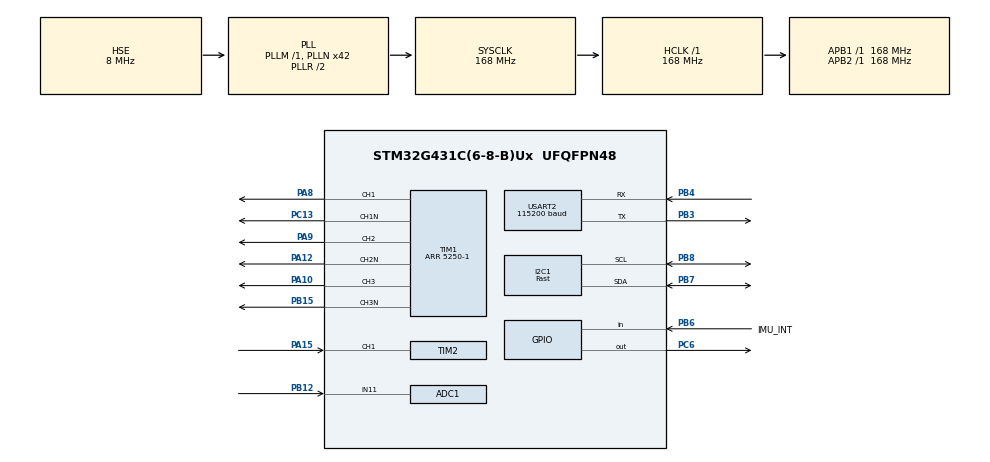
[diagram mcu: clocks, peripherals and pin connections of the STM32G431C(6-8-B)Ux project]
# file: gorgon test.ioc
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ADC1.Channel-0\#ChannelRegularConversion=ADC_CHANNEL_11
ADC1.ContinuousConvMode=ENABLE
ADC1.DMAContinuousRequests=ENABLE
ADC1.NbrOfConversionFlag=1
ADC1.OffsetNumber-0\#ChannelRegularConversion=ADC_OFFSET_NONE
ADC1.Overrun=ADC_OVR_DATA_OVERWRITTEN
ADC1.Rank-0\#ChannelRegularConversion=1
ADC1.SamplingTime-0\#ChannelRegularConversion=ADC_SAMPLETIME_2CYCLES_5
ADC1.master=1
Dma.ADC1.2.Direction=DMA_PERIPH_TO_MEMORY
Dma.ADC1.2.EventEnable=DISABLE
Dma.ADC1.2.Instance=DMA1_Channel3
Dma.ADC1.2.MemDataAlignment=DMA_MDATAALIGN_HALFWORD
Dma.ADC1.2.MemInc=DMA_MINC_DISABLE
Dma.ADC1.2.Mode=DMA_CIRCULAR
Dma.ADC1.2.PeriphDataAlignment=DMA_PDATAALIGN_HALFWORD
Dma.ADC1.2.PeriphInc=DMA_PINC_DISABLE
Dma.ADC1.2.Polarity=HAL_DMAMUX_REQ_GEN_RISING
Dma.ADC1.2.Priority=DMA_PRIORITY_MEDIUM
Dma.ADC1.2.RequestNumber=1
Dma.ADC1.2.SignalID=NONE
Dma.ADC1.2.SyncEnable=DISABLE
Dma.ADC1.2.SyncPolarity=HAL_DMAMUX_SYNC_NO_EVENT
Dma.ADC1.2.SyncRequestNumber=1
Dma.ADC1.2.SyncSignalID=NONE
Dma.I2C1_RX.0.Direction=DMA_PERIPH_TO_MEMORY
Dma.I2C1_RX.0.EventEnable=DISABLE
Dma.I2C1_RX.0.Instance=DMA1_Channel1
Dma.I2C1_RX.0.MemDataAlignment=DMA_MDATAALIGN_BYTE
Dma.I2C1_RX.0.MemInc=DMA_MINC_ENABLE
Dma.I2C1_RX.0.Mode=DMA_NORMAL
Dma.I2C1_RX.0.PeriphDataAlignment=DMA_PDATAALIGN_BYTE
Dma.I2C1_RX.0.PeriphInc=DMA_PINC_DISABLE
Dma.I2C1_RX.0.Polarity=HAL_DMAMUX_REQ_GEN_RISING
Dma.I2C1_RX.0.Priority=DMA_PRIORITY_LOW
Dma.I2C1_RX.0.RequestNumber=1
Dma.I2C1_RX.0.SignalID=NONE
Dma.I2C1_RX.0.SyncEnable=DISABLE
Dma.I2C1_RX.0.SyncPolarity=HAL_DMAMUX_SYNC_NO_EVENT
Dma.I2C1_RX.0.SyncRequestNumber=1
Dma.I2C1_RX.0.SyncSignalID=NONE
Dma.I2C1_TX.1.Direction=DMA_MEMORY_TO_PERIPH
Dma.I2C1_TX.1.EventEnable=DISABLE
Dma.I2C1_TX.1.Instance=DMA1_Channel2
Dma.I2C1_TX.1.MemDataAlignment=DMA_MDATAALIGN_BYTE
Dma.I2C1_TX.1.MemInc=DMA_MINC_ENABLE
Dma.I2C1_TX.1.Mode=DMA_NORMAL
Dma.I2C1_TX.1.PeriphDataAlignment=DMA_PDATAALIGN_BYTE
Dma.I2C1_TX.1.PeriphInc=DMA_PINC_DISABLE
Dma.I2C1_TX.1.Polarity=HAL_DMAMUX_REQ_GEN_RISING
Dma.I2C1_TX.1.Priority=DMA_PRIORITY_LOW
Dma.I2C1_TX.1.RequestNumber=1
Dma.I2C1_TX.1.SignalID=NONE
Dma.I2C1_TX.1.SyncEnable=DISABLE
Dma.I2C1_TX.1.SyncPolarity=HAL_DMAMUX_SYNC_NO_EVENT
Dma.I2C1_TX.1.SyncRequestNumber=1
Dma.I2C1_TX.1.SyncSignalID=NONE
Dma.Request0=I2C1_RX
Dma.Request1=I2C1_TX
Dma.Request2=ADC1
Dma.Request3=USART2_RX
Dma.USART2_RX.3.Direction=DMA_PERIPH_TO_MEMORY
Dma.USART2_RX.3.EventEnable=DISABLE
Dma.USART2_RX.3.Instance=DMA1_Channel4
Dma.USART2_RX.3.MemDataAlignment=DMA_MDATAALIGN_BYTE
Dma.USART2_RX.3.MemInc=DMA_MINC_ENABLE
Dma.USART2_RX.3.Mode=DMA_NORMAL
Dma.USART2_RX.3.PeriphDataAlignment=DMA_PDATAALIGN_BYTE
Dma.USART2_RX.3.PeriphInc=DMA_PINC_DISABLE
Dma.USART2_RX.3.Polarity=HAL_DMAMUX_REQ_GEN_RISING
Dma.USART2_RX.3.Priority=DMA_PRIORITY_LOW
Dma.USART2_RX.3.RequestNumber=1
Dma.USART2_RX.3.SignalID=NONE
Dma.USART2_RX.3.SyncEnable=DISABLE
Dma.USART2_RX.3.SyncPolarity=HAL_DMAMUX_SYNC_NO_EVENT
Dma.USART2_RX.3.SyncRequestNumber=1
Dma.USART2_RX.3.SyncSignalID=NONE
I2C1.I2C_Speed_Mode=I2C_Fast
I2C1.Timing=0x20B21E5A
Mcu.Family=STM32G4
Mcu.Name=STM32G431C(6-8-B)Ux
Mcu.Package=UFQFPN48
NVIC.DMA1_Channel1_IRQn=true\:0\:0\:false\:false\:true\:false\:true\:true
NVIC.DMA1_Channel2_IRQn=true\:0\:0\:false\:false\:true\:false\:true\:true
NVIC.DMA1_Channel3_IRQn=true\:0\:0\:false\:false\:true\:false\:true\:true
NVIC.DMA1_Channel4_IRQn=true\:0\:0\:false\:false\:true\:false\:true\:true
NVIC.I2C1_ER_IRQn=true\:0\:0\:false\:false\:true\:true\:true\:true
NVIC.I2C1_EV_IRQn=true\:0\:0\:false\:false\:true\:true\:true\:true
NVIC.PriorityGroup=NVIC_PRIORITYGROUP_4
NVIC.TIM2_IRQn=true\:0\:0\:false\:false\:true\:true\:true\:true
NVIC.TIM7_IRQn=true\:0\:0\:true\:false\:true\:true\:true\:true
NVIC.USART2_IRQn=true\:0\:0\:false\:false\:true\:true\:true\:true
PA10.Signal=S_TIM1_CH3
PA12.Mode=PWM Generation2 CH2 CH2N
PA12.Signal=TIM1_CH2N
PA15.Signal=S_TIM2_CH1
PA8.Signal=S_TIM1_CH1
PA9.Signal=S_TIM1_CH2
PB12.Mode=IN11-Single-Ended
PB12.Signal=ADC1_IN11
PB15.Mode=PWM Generation3 CH3 CH3N
PB15.Signal=TIM1_CH3N
PB3.Mode=Asynchronous
PB3.Signal=USART2_TX
PB4.Mode=Asynchronous
PB4.Signal=USART2_RX
PB6.GPIO_Label=IMU_INT
PB6.Signal=GPIO_Input
PB7.Mode=I2C
PB7.Signal=I2C1_SDA
PB8-BOOT0.Mode=I2C
PB8-BOOT0.Signal=I2C1_SCL
PC13.Mode=PWM Generation1 CH1 CH1N
PC13.Signal=TIM1_CH1N
PC6.Signal=GPIO_Output
PF0-OSC_IN.Mode=HSE-External-Oscillator
PF0-OSC_IN.Signal=RCC_OSC_IN
PF1-OSC_OUT.Mode=HSE-External-Oscillator
PF1-OSC_OUT.Signal=RCC_OSC_OUT
ProjectManager.HeapSize=0x200
ProjectManager.StackSize=0x400
ProjectManager.TargetToolchain=STM32CubeIDE
RCC.ADC12Freq_Value=168000000
RCC.AHBFreq_Value=168000000
RCC.APB1Freq_Value=168000000
RCC.APB1TimFreq_Value=168000000
RCC.APB2Freq_Value=168000000
RCC.APB2TimFreq_Value=168000000
RCC.CortexFreq_Value=168000000
RCC.EXTERNAL_CLOCK_VALUE=12288000
RCC.HCLKFreq_Value=168000000
RCC.HSE_VALUE=8000000
RCC.HSI48_VALUE=48000000
RCC.HSI_VALUE=16000000
RCC.LSE_VALUE=32768
RCC.PLLN=42
RCC.PLLSourceVirtual=RCC_PLLSOURCE_HSE
RCC.SYSCLKFreq_VALUE=168000000
RCC.SYSCLKSource=RCC_SYSCLKSOURCE_PLLCLK
RCC.USBFreq_Value=168000000
RCC.VCOOutputFreq_Value=336000000
SH.S_TIM1_CH1.0=TIM1_CH1,PWM Generation1 CH1 CH1N
SH.S_TIM1_CH2.0=TIM1_CH2,PWM Generation2 CH2 CH2N
SH.S_TIM1_CH3.0=TIM1_CH3,PWM Generation3 CH3 CH3N
SH.S_TIM2_CH1.0=TIM2_CH1,PWM_Input_1
TIM1.Channel-PWM\ Generation1\ CH1\ CH1N=TIM_CHANNEL_1
TIM1.Channel-PWM\ Generation2\ CH2\ CH2N=TIM_CHANNEL_2
TIM1.Channel-PWM\ Generation3\ CH3\ CH3N=TIM_CHANNEL_3
TIM1.PeriodNoDither=5250-1
TIM7.PeriodNoDither=65535
USART2.BaudRate=115200
USART2.VirtualMode-Asynchronous=VM_ASYNC
VP_SYS_VS_DBSignals.Mode=DisableDeadBatterySignals
VP_TIM2_VS_ClockSourceINT.Mode=Internal
VP_TIM6_VS_ClockSourceINT.Mode=Enable_Timer
VP_TIM7_VS_ClockSourceINT.Mode=Enable_Timer
board=custom

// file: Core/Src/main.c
/* USER CODE BEGIN Header */
/**
  ******************************************************************************
  * @file           : main.c
  * @brief          : Main program body
  ******************************************************************************
  * @attention
  *
  * Copyright (c) 2025 STMicroelectronics.
  * All rights reserved.
  *
  * This software is licensed under terms that can be found in the LICENSE file
  * in the root directory of this software component.
  * If no LICENSE file comes with this software, it is provided AS-IS.
  *
  ******************************************************************************
  */
/* USER CODE END Header */
#include "main.h"

/* USER CODE BEGIN Includes */
#include <string.h>
#include <stdio.h>
#include <math.h>
#include <stdlib.h>
#include "music.h"
#include "MPU6050.h"
#include "MPU6050_D.h"
#include "music.h"
/* USER CODE END Includes */

/* USER CODE BEGIN PD */
#define POLE_PAIRS 11
//emprically determined eletrical angle offset
#define EAU 4.137f

#define AS5048A_DUTY_OFFSET 	0.00388443797038f
#define AS5048A_DUTY_GAIN		1.00586080586f

/* USER CODE END PD */

ADC_HandleTypeDef hadc1;
DMA_HandleTypeDef hdma_adc1;

I2C_HandleTypeDef hi2c1;
DMA_HandleTypeDef hdma_i2c1_rx;
DMA_HandleTypeDef hdma_i2c1_tx;

TIM_HandleTypeDef htim1;
TIM_HandleTypeDef htim2;
TIM_HandleTypeDef htim6;
TIM_HandleTypeDef htim7;

UART_HandleTypeDef huart2;
DMA_HandleTypeDef hdma_usart2_rx;

/* USER CODE BEGIN PV */

// PWM input (encoder variables)
uint32_t frequency;
uint32_t period;
float dutycycle;
uint32_t hightime;
float angle;
volatile float angle_setpoint;

//UART serial debug variables
int count_test;
char buffer[250];
uint8_t indx;
uint8_t UART_rx_byte;
uint8_t UART_rx_buffer[30];

HAL_StatusTypeDef stat;

//ADC potentiometer variables
volatile uint32_t potVal;

//Motor driving variables
volatile float torque; //rotor quadrature
float d; //rotor direct
float angletest;
float angletestrad;

float a;
float b;
float c;

uint16_t counter_period;

//flags
uint8_t ADC_flag;
uint8_t IMU_flag;

//PID loop variables
volatile uint32_t prev_tick = 0;  // Previous tick count (HAL_GetTick)
volatile uint32_t prev_val = 0;
volatile prev_dt;// Previous SysTick->VAL
volatile float Curr_error;

volatile float P;
//static float I;
volatile float D;

float dt = 0.0000625f;

MPU6050 mpu;

/* USER CODE END PV */

void SystemClock_Config(void);
static void MX_GPIO_Init(void);
static void MX_DMA_Init(void);
static void MX_TIM2_Init(void);
static void MX_USART2_UART_Init(void);
static void MX_I2C1_Init(void);
static void MX_TIM1_Init(void);
static void MX_ADC1_Init(void);
static void MX_TIM6_Init(void);
static void MX_TIM7_Init(void);

/* USER CODE BEGIN 0 */

//Motor driver stuff

void print(char *msg);

void BLDC_TorquetoPWM(float theta){

	float x;
	float y;

	//convert from electrical angle to mechanical angle
	theta = theta * POLE_PAIRS - EAU;
	//Inverse park transform
	x = d*cosf(theta) - torque*sinf(theta);
	y = d*sinf(theta) + torque*cosf(theta);

	//Inverse clarke transform
	a = x;
	b = -1.0*x/2.0 + y*M_SQRT3_OVER_2;
	c = -1.0*x/2.0 - y*M_SQRT3_OVER_2;

	counter_period = __HAL_TIM_GET_AUTORELOAD(&htim1);

	TIM1->CCR1 = ((a/2)+0.5)* counter_period;
	TIM1->CCR2 = ((b/2)+0.5)* counter_period;
	TIM1->CCR3 = ((c/2)+0.5)* counter_period;

//	sprintf(buffer, "%lu, %lu, %lu\r\n", TIM1->CCR1, TIM1->CCR2, TIM1->CCR3);
//	print(buffer);
}

/* I2C stuff */

//reading PWM signal

//Serial
void print(char *msg){
	HAL_UART_Transmit(&huart2, (uint8_t*)buffer, strlen(buffer),100);
}

void init_time(){
    prev_tick = HAL_GetTick();  // Get current millisecond count
    prev_val = SysTick->VAL;    // Get SysTick counter value
}

void count(){
	count_test += 1;
}

int32_t PID(){

	static float Prev_error;
	//	static float integral;
	float derivative;

	//Calculate error, with direction
	if ((angle_setpoint - angle) > 0){
		if ((angle_setpoint - angle)> M_PI){
			Curr_error = (2*M_PI - (angle_setpoint - angle));
		}else{
			Curr_error = -(angle_setpoint - angle);
		}

	}else{
		if ((angle_setpoint - angle)< -M_PI){
			Curr_error = -(2*M_PI + (angle_setpoint - angle));
		}else{
			Curr_error = -(angle_setpoint - angle);
		}
	}

	derivative = (Curr_error-Prev_error)/dt;

//	integral += Curr_error*dt;
//	if (Curr_error >= 0.01 | Curr_error <= -0.01 ){

	torque = P*Curr_error;

//	}else{
//
//		torque = 0;
//
//	}

	torque = fmaxf(fminf(torque,0.25),-0.25);

//	sprintf(buffer, "%d\r\n", (int)(Curr_error*100000));
//	print(buffer);

//	prev_dt = dt;
}

//Callbacks

void HAL_TIM_PeriodElapsedCallback(TIM_HandleTypeDef *htim){
	if (htim->Instance == TIM7){
//		play_music(&htim6);
		PID();
		BLDC_TorquetoPWM(angle);
//		angle_setpoint = fmaxf(fminf((potVal/ 4096.0f)*2 *M_PI, 2 *M_PI),0);
		angle_setpoint = pitch;
	}
}

void HAL_TIM_IC_CaptureCallback(TIM_HandleTypeDef *htim){
//Update value once every period
	if (htim->Channel == HAL_TIM_ACTIVE_CHANNEL_1){
		period = HAL_TIM_ReadCapturedValue(htim, TIM_CHANNEL_1);
		hightime = HAL_TIM_ReadCapturedValue(htim, TIM_CHANNEL_2);
		if(period != 0){
			//channel 1 only capture rising edges
			//Channel 1 returns ticks elapsed between 2 rising edges
			//channel 2 captures both rising and fallign edges
			//Channel 2 returns ticks elapsed between a rising and falling edge
			//Both timers reset each rising edge in PWM input mode

			dutycycle = (float)hightime/(float)period;
			dutycycle -= AS5048A_DUTY_OFFSET;
			dutycycle *= AS5048A_DUTY_GAIN;

			uint16_t rotor_position_bits = (uint16_t)(dutycycle * 4095.0f + 0.5f);
			angle = (float)rotor_position_bits * 2.0f * M_PI / 4096.0f;

//			sprintf(buffer, "%lu\r\n", (uint32_t)(angle*100000));
//			print(buffer);
		}
	}
}
void HAL_I2C_MemRxCpltCallback(I2C_HandleTypeDef *hi2c){
	mpu.gotData = 1;
	rx_flag = 0;
}

//void HAL_ADC_ConvCpltCallback(ADC_HandleTypeDef *hadc) {
////	HAL_ADC_Start_DMA(&hadc1, &potVal, 1);
//}

void HAL_UART_RxCpltCallback(UART_HandleTypeDef *huart) {
    if (huart->Instance == USART2) {
        if (UART_rx_byte == '\n') {
            // Trim trailing \r if present
            if (indx > 0 && UART_rx_buffer[indx-1] == '\r') {
                UART_rx_buffer[indx-1] = '\0';
            } else {
                UART_rx_buffer[indx] = '\0';
            }

            HAL_UART_Transmit(&huart2, (uint8_t*)UART_rx_buffer, indx, 100);

            char *comma = strchr(UART_rx_buffer, ',');
            if (comma != NULL) {
                *comma = '\0';
                char *endptr;

                // Parse P
                P = strtof(UART_rx_buffer, &endptr);
                if (endptr == UART_rx_buffer) {
                    // Error: Invalid P
                    P = 0.0f;
                }

                // Parse D
                D = strtof(comma + 1, &endptr);
                if (endptr == comma + 1) {
                    // Error: Invalid D
                    D = 0.0f;
                }
            } else {
                P = 0.0f;
                D = 0.0f;
            }

            memset(UART_rx_buffer, 0, 30);
            indx = 0;
        } else {
            if (indx < 29) {
                UART_rx_buffer[indx] = UART_rx_byte;
                indx++;
            } else {
                indx = 0; // Reset on overflow
            }
        }
        HAL_UART_Receive_IT(&huart2, &UART_rx_byte, 1);
    }
}

/* USER CODE END 0 */

int main(void)
{

  /* MCU Configuration--------------------------------------------------------*/

  /* Reset of all peripherals, Initializes the Flash interface and the Systick. */
  HAL_Init();

  /* Configure the system clock */
  SystemClock_Config();

  /* Initialize all configured peripherals */
  MX_GPIO_Init();
  MX_DMA_Init();
  MX_TIM2_Init();
  MX_USART2_UART_Init();
  MX_I2C1_Init();
  MX_TIM1_Init();
  MX_ADC1_Init();
  MX_TIM6_Init();
  MX_TIM7_Init();
  /* USER CODE BEGIN 2 */
  torque = 0;
  d = 0;

  P = 0.5;
  D = 0;

  MPU6050_init(&hi2c1);
  MPU6050_Initialize(&mpu, &hi2c1);
//  MPU6050_Read_DMA(&mpu);
//  MPU6050_read_poll_data(&hi2c1);
  HAL_UART_Receive_IT(&huart2,&UART_rx_byte, 1);
//  HAL_ADC_Start_DMA(&hadc1,(uint32_t*)&potVal, 1);

  /* USER CODE END 2 */

  /* Infinite loop */
  /* USER CODE BEGIN WHILE */
  while (1)
 {
//	  sprintf(buffer, "main loop running\r\n");
//	  print(buffer);

	  mpu.newData = HAL_GPIO_ReadPin(IMU_INT_GPIO_Port, IMU_INT_Pin);

	  if (mpu.newData == 1 && rx_flag == 0){
		  MPU6050_read_DMA_data(&hi2c1);
//		  MPU6050_Read_DMA(&mpu);
	  }

	  if (mpu.gotData == 1){
		  MPU6050_process_data();
//		  MPU6050_Process_DMA_Data(&mpu);
		  mpu.gotData = 0;

//		  sprintf(buffer, "%f, %f, %f \r\n", roll*(180/M_PI),pitch*(180/M_PI),yaw*(180/M_PI));
//		  print(buffer);
	  }

    /* USER CODE END WHILE */

  }
}

void SystemClock_Config(void)
{
  RCC_OscInitTypeDef RCC_OscInitStruct = {0};
  RCC_ClkInitTypeDef RCC_ClkInitStruct = {0};

  /** Configure the main internal regulator output voltage
  */
  HAL_PWREx_ControlVoltageScaling(PWR_REGULATOR_VOLTAGE_SCALE1_BOOST);

  /** Initializes the RCC Oscillators according to the specified parameters
  * in the RCC_OscInitTypeDef structure.
  */
  RCC_OscInitStruct.OscillatorType = RCC_OSCILLATORTYPE_HSE;
  RCC_OscInitStruct.HSEState = RCC_HSE_ON;
  RCC_OscInitStruct.PLL.PLLState = RCC_PLL_ON;
  RCC_OscInitStruct.PLL.PLLSource = RCC_PLLSOURCE_HSE;
  RCC_OscInitStruct.PLL.PLLM = RCC_PLLM_DIV1;
  RCC_OscInitStruct.PLL.PLLN = 42;
  RCC_OscInitStruct.PLL.PLLP = RCC_PLLP_DIV2;
  RCC_OscInitStruct.PLL.PLLQ = RCC_PLLQ_DIV2;
  RCC_OscInitStruct.PLL.PLLR = RCC_PLLR_DIV2;
  if (HAL_RCC_OscConfig(&RCC_OscInitStruct) != HAL_OK)
  {
    Error_Handler();
  }

  /** Initializes the CPU, AHB and APB buses clocks
  */
  RCC_ClkInitStruct.ClockType = RCC_CLOCKTYPE_HCLK|RCC_CLOCKTYPE_SYSCLK
                              |RCC_CLOCKTYPE_PCLK1|RCC_CLOCKTYPE_PCLK2;
  RCC_ClkInitStruct.SYSCLKSource = RCC_SYSCLKSOURCE_PLLCLK;
  RCC_ClkInitStruct.AHBCLKDivider = RCC_SYSCLK_DIV1;
  RCC_ClkInitStruct.APB1CLKDivider = RCC_HCLK_DIV1;
  RCC_ClkInitStruct.APB2CLKDivider = RCC_HCLK_DIV1;

  if (HAL_RCC_ClockConfig(&RCC_ClkInitStruct, FLASH_LATENCY_4) != HAL_OK)
  {
    Error_Handler();
  }
}

static void MX_ADC1_Init(void)
{

  ADC_MultiModeTypeDef multimode = {0};
  ADC_ChannelConfTypeDef sConfig = {0};

  /** Common config
  */
  hadc1.Instance = ADC1;
  hadc1.Init.ClockPrescaler = ADC_CLOCK_SYNC_PCLK_DIV4;
  hadc1.Init.Resolution = ADC_RESOLUTION_12B;
  hadc1.Init.DataAlign = ADC_DATAALIGN_RIGHT;
  hadc1.Init.GainCompensation = 0;
  hadc1.Init.ScanConvMode = ADC_SCAN_DISABLE;
  hadc1.Init.EOCSelection = ADC_EOC_SINGLE_CONV;
  hadc1.Init.LowPowerAutoWait = DISABLE;
  hadc1.Init.ContinuousConvMode = ENABLE;
  hadc1.Init.NbrOfConversion = 1;
  hadc1.Init.DiscontinuousConvMode = DISABLE;
  hadc1.Init.ExternalTrigConv = ADC_SOFTWARE_START;
  hadc1.Init.ExternalTrigConvEdge = ADC_EXTERNALTRIGCONVEDGE_NONE;
  hadc1.Init.DMAContinuousRequests = ENABLE;
  hadc1.Init.Overrun = ADC_OVR_DATA_OVERWRITTEN;
  hadc1.Init.OversamplingMode = DISABLE;
  if (HAL_ADC_Init(&hadc1) != HAL_OK)
  {
    Error_Handler();
  }

  /** Configure the ADC multi-mode
  */
  multimode.Mode = ADC_MODE_INDEPENDENT;
  if (HAL_ADCEx_MultiModeConfigChannel(&hadc1, &multimode) != HAL_OK)
  {
    Error_Handler();
  }

  /** Configure Regular Channel
  */
  sConfig.Channel = ADC_CHANNEL_11;
  sConfig.Rank = ADC_REGULAR_RANK_1;
  sConfig.SamplingTime = ADC_SAMPLETIME_2CYCLES_5;
  sConfig.SingleDiff = ADC_SINGLE_ENDED;
  sConfig.OffsetNumber = ADC_OFFSET_NONE;
  sConfig.Offset = 0;
  if (HAL_ADC_ConfigChannel(&hadc1, &sConfig) != HAL_OK)
  {
    Error_Handler();
  }

}

static void MX_I2C1_Init(void)
{

  hi2c1.Instance = I2C1;
  hi2c1.Init.Timing = 0x20B21E5A;
  hi2c1.Init.OwnAddress1 = 0;
  hi2c1.Init.AddressingMode = I2C_ADDRESSINGMODE_7BIT;
  hi2c1.Init.DualAddressMode = I2C_DUALADDRESS_DISABLE;
  hi2c1.Init.OwnAddress2 = 0;
  hi2c1.Init.OwnAddress2Masks = I2C_OA2_NOMASK;
  hi2c1.Init.GeneralCallMode = I2C_GENERALCALL_DISABLE;
  hi2c1.Init.NoStretchMode = I2C_NOSTRETCH_DISABLE;
  if (HAL_I2C_Init(&hi2c1) != HAL_OK)
  {
    Error_Handler();
  }

  /** Configure Analogue filter
  */
  if (HAL_I2CEx_ConfigAnalogFilter(&hi2c1, I2C_ANALOGFILTER_ENABLE) != HAL_OK)
  {
    Error_Handler();
  }

  /** Configure Digital filter
  */
  if (HAL_I2CEx_ConfigDigitalFilter(&hi2c1, 0) != HAL_OK)
  {
    Error_Handler();
  }

}

static void MX_TIM1_Init(void)
{

  TIM_MasterConfigTypeDef sMasterConfig = {0};
  TIM_OC_InitTypeDef sConfigOC = {0};
  TIM_BreakDeadTimeConfigTypeDef sBreakDeadTimeConfig = {0};

  htim1.Instance = TIM1;
  htim1.Init.Prescaler = 0;
  htim1.Init.CounterMode = TIM_COUNTERMODE_UP;
  htim1.Init.Period = 5249;
  htim1.Init.ClockDivision = TIM_CLOCKDIVISION_DIV1;
  htim1.Init.RepetitionCounter = 0;
  htim1.Init.AutoReloadPreload = TIM_AUTORELOAD_PRELOAD_DISABLE;
  if (HAL_TIM_PWM_Init(&htim1) != HAL_OK)
  {
    Error_Handler();
  }
  sMasterConfig.MasterOutputTrigger = TIM_TRGO_RESET;
  sMasterConfig.MasterOutputTrigger2 = TIM_TRGO2_RESET;
  sMasterConfig.MasterSlaveMode = TIM_MASTERSLAVEMODE_DISABLE;
  if (HAL_TIMEx_MasterConfigSynchronization(&htim1, &sMasterConfig) != HAL_OK)
  {
    Error_Handler();
  }
  sConfigOC.OCMode = TIM_OCMODE_PWM1;
  sConfigOC.Pulse = 0;
  sConfigOC.OCPolarity = TIM_OCPOLARITY_HIGH;
  sConfigOC.OCNPolarity = TIM_OCNPOLARITY_HIGH;
  sConfigOC.OCFastMode = TIM_OCFAST_DISABLE;
  sConfigOC.OCIdleState = TIM_OCIDLESTATE_RESET;
  sConfigOC.OCNIdleState = TIM_OCNIDLESTATE_RESET;
  if (HAL_TIM_PWM_ConfigChannel(&htim1, &sConfigOC, TIM_CHANNEL_1) != HAL_OK)
  {
    Error_Handler();
  }
  if (HAL_TIM_PWM_ConfigChannel(&htim1, &sConfigOC, TIM_CHANNEL_2) != HAL_OK)
  {
    Error_Handler();
  }
  if (HAL_TIM_PWM_ConfigChannel(&htim1, &sConfigOC, TIM_CHANNEL_3) != HAL_OK)
  {
    Error_Handler();
  }
  sBreakDeadTimeConfig.OffStateRunMode = TIM_OSSR_DISABLE;
  sBreakDeadTimeConfig.OffStateIDLEMode = TIM_OSSI_DISABLE;
  sBreakDeadTimeConfig.LockLevel = TIM_LOCKLEVEL_OFF;
  sBreakDeadTimeConfig.DeadTime = 0;
  sBreakDeadTimeConfig.BreakState = TIM_BREAK_DISABLE;
  sBreakDeadTimeConfig.BreakPolarity = TIM_BREAKPOLARITY_HIGH;
  sBreakDeadTimeConfig.BreakFilter = 0;
  sBreakDeadTimeConfig.BreakAFMode = TIM_BREAK_AFMODE_INPUT;
  sBreakDeadTimeConfig.Break2State = TIM_BREAK2_DISABLE;
  sBreakDeadTimeConfig.Break2Polarity = TIM_BREAK2POLARITY_HIGH;
  sBreakDeadTimeConfig.Break2Filter = 0;
  sBreakDeadTimeConfig.Break2AFMode = TIM_BREAK_AFMODE_INPUT;
  sBreakDeadTimeConfig.AutomaticOutput = TIM_AUTOMATICOUTPUT_DISABLE;
  if (HAL_TIMEx_ConfigBreakDeadTime(&htim1, &sBreakDeadTimeConfig) != HAL_OK)
  {
    Error_Handler();
  }
  /* USER CODE BEGIN TIM1_Init 2 */
	 HAL_TIM_PWM_Start(&htim1, TIM_CHANNEL_1);
	 HAL_TIMEx_PWMN_Start(&htim1, TIM_CHANNEL_1);
	 HAL_TIM_PWM_Start(&htim1, TIM_CHANNEL_2);
	 HAL_TIMEx_PWMN_Start(&htim1, TIM_CHANNEL_2);
	 HAL_TIM_PWM_Start(&htim1, TIM_CHANNEL_3);
	 HAL_TIMEx_PWMN_Start(&htim1, TIM_CHANNEL_3);

  /* USER CODE END TIM1_Init 2 */
  HAL_TIM_MspPostInit(&htim1);

}

static void MX_TIM2_Init(void)
{

  TIM_ClockConfigTypeDef sClockSourceConfig = {0};
  TIM_SlaveConfigTypeDef sSlaveConfig = {0};
  TIM_IC_InitTypeDef sConfigIC = {0};
  TIM_MasterConfigTypeDef sMasterConfig = {0};

  htim2.Instance = TIM2;
  htim2.Init.Prescaler = 0;
  htim2.Init.CounterMode = TIM_COUNTERMODE_UP;
  htim2.Init.Period = 4294967295;
  htim2.Init.ClockDivision = TIM_CLOCKDIVISION_DIV1;
  htim2.Init.AutoReloadPreload = TIM_AUTORELOAD_PRELOAD_DISABLE;
  if (HAL_TIM_Base_Init(&htim2) != HAL_OK)
  {
    Error_Handler();
  }
  sClockSourceConfig.ClockSource = TIM_CLOCKSOURCE_INTERNAL;
  if (HAL_TIM_ConfigClockSource(&htim2, &sClockSourceConfig) != HAL_OK)
  {
    Error_Handler();
  }
  if (HAL_TIM_IC_Init(&htim2) != HAL_OK)
  {
    Error_Handler();
  }
  sSlaveConfig.SlaveMode = TIM_SLAVEMODE_RESET;
  sSlaveConfig.InputTrigger = TIM_TS_TI1FP1;
  sSlaveConfig.TriggerPolarity = TIM_INPUTCHANNELPOLARITY_RISING;
  sSlaveConfig.TriggerPrescaler = TIM_ICPSC_DIV1;
  sSlaveConfig.TriggerFilter = 0;
  if (HAL_TIM_SlaveConfigSynchro(&htim2, &sSlaveConfig) != HAL_OK)
  {
    Error_Handler();
  }
  sConfigIC.ICPolarity = TIM_INPUTCHANNELPOLARITY_RISING;
  sConfigIC.ICSelection = TIM_ICSELECTION_DIRECTTI;
  sConfigIC.ICPrescaler = TIM_ICPSC_DIV1;
  sConfigIC.ICFilter = 0;
  if (HAL_TIM_IC_ConfigChannel(&htim2, &sConfigIC, TIM_CHANNEL_1) != HAL_OK)
  {
    Error_Handler();
  }
  sConfigIC.ICPolarity = TIM_INPUTCHANNELPOLARITY_FALLING;
  sConfigIC.ICSelection = TIM_ICSELECTION_INDIRECTTI;
  if (HAL_TIM_IC_ConfigChannel(&htim2, &sConfigIC, TIM_CHANNEL_2) != HAL_OK)
  {
    Error_Handler();
  }
  sMasterConfig.MasterOutputTrigger = TIM_TRGO_RESET;
  sMasterConfig.MasterSlaveMode = TIM_MASTERSLAVEMODE_DISABLE;
  if (HAL_TIMEx_MasterConfigSynchronization(&htim2, &sMasterConfig) != HAL_OK)
  {
    Error_Handler();
  }
  /* USER CODE BEGIN TIM2_Init 2 */
	HAL_TIM_IC_Start_IT(&htim2, TIM_CHANNEL_1);
	HAL_TIM_IC_Start_IT(&htim2, TIM_CHANNEL_2);
  /* USER CODE END TIM2_Init 2 */

}

static void MX_TIM6_Init(void)
{

  TIM_MasterConfigTypeDef sMasterConfig = {0};

  htim6.Instance = TIM6;
  htim6.Init.Prescaler = 0;
  htim6.Init.CounterMode = TIM_COUNTERMODE_UP;
  htim6.Init.Period = 65535;
  htim6.Init.AutoReloadPreload = TIM_AUTORELOAD_PRELOAD_DISABLE;
  if (HAL_TIM_Base_Init(&htim6) != HAL_OK)
  {
    Error_Handler();
  }
  sMasterConfig.MasterOutputTrigger = TIM_TRGO_RESET;
  sMasterConfig.MasterSlaveMode = TIM_MASTERSLAVEMODE_DISABLE;
  if (HAL_TIMEx_MasterConfigSynchronization(&htim6, &sMasterConfig) != HAL_OK)
  {
    Error_Handler();
  }

}

static void MX_TIM7_Init(void)
{

  TIM_MasterConfigTypeDef sMasterConfig = {0};

  htim7.Instance = TIM7;
  htim7.Init.Prescaler = 0;
  htim7.Init.CounterMode = TIM_COUNTERMODE_UP;
  htim7.Init.Period = 65535;
  htim7.Init.AutoReloadPreload = TIM_AUTORELOAD_PRELOAD_DISABLE;
  if (HAL_TIM_Base_Init(&htim7) != HAL_OK)
  {
    Error_Handler();
  }
  sMasterConfig.MasterOutputTrigger = TIM_TRGO_RESET;
  sMasterConfig.MasterSlaveMode = TIM_MASTERSLAVEMODE_DISABLE;
  if (HAL_TIMEx_MasterConfigSynchronization(&htim7, &sMasterConfig) != HAL_OK)
  {
    Error_Handler();
  }
  /* USER CODE BEGIN TIM7_Init 2 */
  HAL_TIM_Base_Start_IT(&htim7);
  HAL_TIM_Base_Start_IT(&htim7);
  /* USER CODE END TIM7_Init 2 */

}

static void MX_USART2_UART_Init(void)
{

  huart2.Instance = USART2;
  huart2.Init.BaudRate = 115200;
  huart2.Init.WordLength = UART_WORDLENGTH_8B;
  huart2.Init.StopBits = UART_STOPBITS_1;
  huart2.Init.Parity = UART_PARITY_NONE;
  huart2.Init.Mode = UART_MODE_TX_RX;
  huart2.Init.HwFlowCtl = UART_HWCONTROL_NONE;
  huart2.Init.OverSampling = UART_OVERSAMPLING_16;
  huart2.Init.OneBitSampling = UART_ONE_BIT_SAMPLE_DISABLE;
  huart2.Init.ClockPrescaler = UART_PRESCALER_DIV1;
  huart2.AdvancedInit.AdvFeatureInit = UART_ADVFEATURE_NO_INIT;
  if (HAL_UART_Init(&huart2) != HAL_OK)
  {
    Error_Handler();
  }
  if (HAL_UARTEx_SetTxFifoThreshold(&huart2, UART_TXFIFO_THRESHOLD_1_8) != HAL_OK)
  {
    Error_Handler();
  }
  if (HAL_UARTEx_SetRxFifoThreshold(&huart2, UART_RXFIFO_THRESHOLD_1_8) != HAL_OK)
  {
    Error_Handler();
  }
  if (HAL_UARTEx_DisableFifoMode(&huart2) != HAL_OK)
  {
    Error_Handler();
  }

}

static void MX_DMA_Init(void)
{

  /* DMA controller clock enable */
  __HAL_RCC_DMAMUX1_CLK_ENABLE();
  __HAL_RCC_DMA1_CLK_ENABLE();

  /* DMA interrupt init */
  /* DMA1_Channel1_IRQn interrupt configuration */
  HAL_NVIC_SetPriority(DMA1_Channel1_IRQn, 0, 0);
  HAL_NVIC_EnableIRQ(DMA1_Channel1_IRQn);
  /* DMA1_Channel2_IRQn interrupt configuration */
  HAL_NVIC_SetPriority(DMA1_Channel2_IRQn, 0, 0);
  HAL_NVIC_EnableIRQ(DMA1_Channel2_IRQn);
  /* DMA1_Channel3_IRQn interrupt configuration */
  HAL_NVIC_SetPriority(DMA1_Channel3_IRQn, 0, 0);
  HAL_NVIC_EnableIRQ(DMA1_Channel3_IRQn);
  /* DMA1_Channel4_IRQn interrupt configuration */
  HAL_NVIC_SetPriority(DMA1_Channel4_IRQn, 0, 0);
  HAL_NVIC_EnableIRQ(DMA1_Channel4_IRQn);

}

static void MX_GPIO_Init(void)
{
  GPIO_InitTypeDef GPIO_InitStruct = {0};

  /* GPIO Ports Clock Enable */
  __HAL_RCC_GPIOC_CLK_ENABLE();
  __HAL_RCC_GPIOF_CLK_ENABLE();
  __HAL_RCC_GPIOB_CLK_ENABLE();
  __HAL_RCC_GPIOA_CLK_ENABLE();

  /*Configure GPIO pin Output Level */
  HAL_GPIO_WritePin(GPIOC, GPIO_PIN_6, GPIO_PIN_RESET);

  /*Configure GPIO pin : PC6 */
  GPIO_InitStruct.Pin = GPIO_PIN_6;
  GPIO_InitStruct.Mode = GPIO_MODE_OUTPUT_PP;
  GPIO_InitStruct.Pull = GPIO_NOPULL;
  GPIO_InitStruct.Speed = GPIO_SPEED_FREQ_LOW;
  HAL_GPIO_Init(GPIOC, &GPIO_InitStruct);

  /*Configure GPIO pin : IMU_INT_Pin */
  GPIO_InitStruct.Pin = IMU_INT_Pin;
  GPIO_InitStruct.Mode = GPIO_MODE_INPUT;
  GPIO_InitStruct.Pull = GPIO_NOPULL;
  HAL_GPIO_Init(IMU_INT_GPIO_Port, &GPIO_InitStruct);

}

void Error_Handler(void)
{
  __disable_irq();
  while (1)
  {
  }
}
